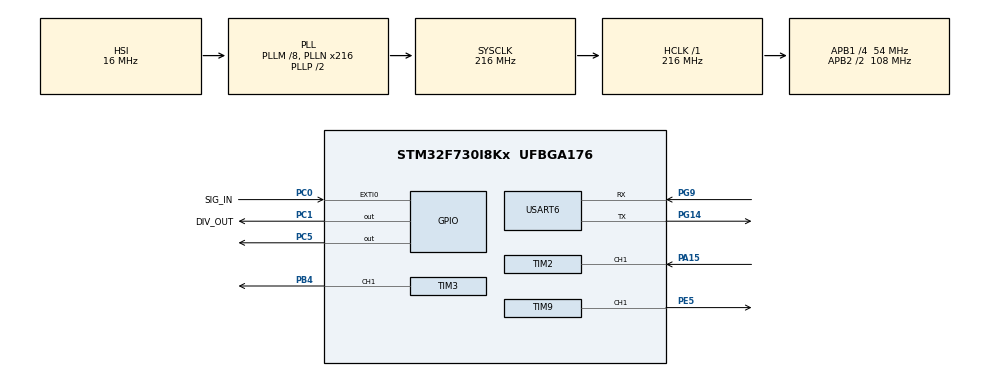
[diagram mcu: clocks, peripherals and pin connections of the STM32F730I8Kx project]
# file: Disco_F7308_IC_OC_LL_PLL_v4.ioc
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Dma.Request0=TIM2_CH1
Dma.TIM2_CH1.0.Direction=DMA_PERIPH_TO_MEMORY
Dma.TIM2_CH1.0.FIFOMode=DMA_FIFOMODE_DISABLE
Dma.TIM2_CH1.0.Instance=DMA1_Stream5
Dma.TIM2_CH1.0.MemDataAlignment=DMA_MDATAALIGN_WORD
Dma.TIM2_CH1.0.MemInc=DMA_MINC_ENABLE
Dma.TIM2_CH1.0.Mode=DMA_CIRCULAR
Dma.TIM2_CH1.0.PeriphDataAlignment=DMA_PDATAALIGN_WORD
Dma.TIM2_CH1.0.PeriphInc=DMA_PINC_DISABLE
Dma.TIM2_CH1.0.Priority=DMA_PRIORITY_LOW
Mcu.Family=STM32F7
Mcu.Name=STM32F730I8Kx
Mcu.Package=UFBGA176
NVIC.DMA1_Stream5_IRQn=true\:0\:0\:false\:false\:true\:false\:true
NVIC.PriorityGroup=NVIC_PRIORITYGROUP_4
NVIC.TIM2_IRQn=true\:0\:0\:false\:false\:true\:true\:true
NVIC.TIM3_IRQn=true\:0\:0\:false\:false\:true\:true\:true
PA1.Signal=S_TIM2_CH2
PA15.Signal=S_TIM2_CH1_ETR
PB4.Signal=S_TIM3_CH1
PC0.GPIO_Label=SIG_IN
PC0.Signal=GPXTI0
PC1.GPIO_Label=DIV_OUT
PC1.GPIO_Speed=GPIO_SPEED_FREQ_VERY_HIGH
PC1.Signal=GPIO_Output
PC5.GPIO_Speed=GPIO_SPEED_FREQ_VERY_HIGH
PC5.PinState=GPIO_PIN_RESET
PC5.Signal=GPIO_Output
PE5.Signal=S_TIM9_CH1
PG14.Mode=Asynchronous
PG14.Signal=USART6_TX
PG9.Mode=Asynchronous
PG9.Signal=USART6_RX
ProjectManager.HeapSize=0x200
ProjectManager.StackSize=0x400
ProjectManager.TargetToolchain=STM32CubeIDE
RCC.AHBFreq_Value=216000000
RCC.APB1CLKDivider=RCC_HCLK_DIV4
RCC.APB1Freq_Value=54000000
RCC.APB1TimFreq_Value=108000000
RCC.APB2CLKDivider=RCC_HCLK_DIV2
RCC.APB2Freq_Value=108000000
RCC.APB2TimFreq_Value=216000000
RCC.CortexFreq_Value=216000000
RCC.HCLKFreq_Value=216000000
RCC.HSE_VALUE=25000000
RCC.HSI_VALUE=16000000
RCC.LSE_VALUE=32768
RCC.PLLM=8
RCC.PLLN=216
RCC.PLLQ=9
RCC.SYSCLKFreq_VALUE=216000000
RCC.SYSCLKSource=RCC_SYSCLKSOURCE_PLLCLK
RCC.USBFreq_Value=48000000
RCC.VCOOutputFreq_Value=432000000
SH.S_TIM2_CH1_ETR.0=TIM2_CH1,Input_Capture1_from_TI1
SH.S_TIM2_CH2.0=TIM2_CH2
SH.S_TIM3_CH1.0=TIM3_CH1,Output Compare1 CH1
SH.S_TIM9_CH1.0=TIM9_CH1,PWM Generation1 CH1
TIM2.Channel-Input_Capture1_from_TI1=TIM_CHANNEL_1
TIM3.Channel-Output\ Compare1\ CH1=TIM_CHANNEL_1
TIM3.OCMode_1=TIM_OCMODE_TOGGLE
TIM9.Channel-PWM\ Generation1\ CH1=TIM_CHANNEL_1
TIM9.Pulse-PWM\ Generation1\ CH1=32767
USART6.VirtualMode-Asynchronous=VM_ASYNC
VP_TIM2_VS_ClockSourceINT.Mode=Internal
VP_TIM3_VS_ClockSourceINT.Mode=Internal
VP_TIM9_VS_ClockSourceINT.Mode=Internal
board=STM32F7308-DK

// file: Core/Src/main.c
/* USER CODE BEGIN Header */
/**
 ******************************************************************************
 * @file           : main.c
 * @brief          : Main program body
 ******************************************************************************
 * @attention
 *
 * Copyright (c) 2022 STMicroelectronics.
 * All rights reserved.
 *
 * This software is licensed under terms that can be found in the LICENSE file
 * in the root directory of this software component.
 * If no LICENSE file comes with this software, it is provided AS-IS.
 *
 ******************************************************************************

  PE5  = TIM9_CH1 PWM  output
  PA15 = TIM2_CH1 IC   input
  PB4  = TIM1_CH1 OC   output

 */
/* USER CODE END Header */
#include "main.h"

/* USER CODE BEGIN Includes */
#include <stdio.h>
#include <math.h>
#include <string.h> /* strlen */
#include <inttypes.h>

/* USER CODE END Includes */

TIM_HandleTypeDef htim2;
TIM_HandleTypeDef htim9;
DMA_HandleTypeDef hdma_tim2_ch1;

UART_HandleTypeDef huart6;

/* USER CODE BEGIN PV */

uint32_t currentTime=0;
//uint32_t CH1_captures[2];
uint32_t last_CH1_capture, CH1_capture;
volatile uint8_t  CH1_captureDone = 0, toggle=0;
volatile uint32_t CH1_diffCapture = 0;
volatile uint32_t period = 0;
volatile uint32_t DIV=0;
volatile uint32_t DIV_counter=0, TIM2_counter=0;
volatile uint32_t start=1;
volatile float fperiod=0, fperiodErr = 0.;
volatile uint32_t MULTIPLIER, DIVIDER;
volatile float ratio;
/* USER CODE END PV */

void SystemClock_Config(void);
static void MX_GPIO_Init(void);
static void MX_DMA_Init(void);
static void MX_TIM2_Init(void);
static void MX_TIM9_Init(void);
static void MX_USART6_UART_Init(void);
static void MX_TIM3_Init(void);

/* USER CODE BEGIN 0 */
// WARNING UART6 is connected to st-link
// Properties -> Settings -> MCU_Settings -> select use float with printf
/*
 * USART6, BaudRate = 115200, WordLength = UART_WORDLENGTH_8B, StopBits = UART_STOPBITS_1;
 * */
int _write(int file, char *ptr, int len)
{
	HAL_UART_Transmit(&huart6,(uint8_t *)ptr, len, 10);
	return len;
}

void   LL_TIM_OC_Start_IT(TIM_TypeDef *TIMx, uint32_t Channel){
	  /**************************/
	  /* TIM3 interrupts set-up */
	  /**************************/
	  /* Enable the capture/compare interrupt for channel 1*/
	  LL_TIM_EnableIT_CC1(TIMx);

	  /**********************************/
	  /* Start output signal generation */
	  /**********************************/
	  /* Enable output channel 3 */
	  LL_TIM_CC_EnableChannel(TIMx, Channel);

	  /* Enable counter */
	  LL_TIM_EnableCounter(TIMx);

	  /* Force update generation */
	  LL_TIM_GenerateEvent_UPDATE(TIMx);
}
/* USER CODE END 0 */

int main(void)
{

  /* MCU Configuration--------------------------------------------------------*/

  /* Reset of all peripherals, Initializes the Flash interface and the Systick. */
  HAL_Init();

  /* Configure the system clock */
  SystemClock_Config();

  /* Initialize all configured peripherals */
  MX_GPIO_Init();
  MX_DMA_Init();
  MX_TIM2_Init();
  MX_TIM9_Init();
  MX_USART6_UART_Init();
  MX_TIM3_Init();
  /* USER CODE BEGIN 2 */

	MX_DMA_Init();

	printf("start\n");
	// TIM9_freq =216 MHz
	// T = (ARR+1)*(PSC+1)/216e6=  avec ARR=4999 et PSC=215
	// Pulse=24999 => freq = 200 Hz
	// T = (ARR+1)*(PSC+1)/216e6=  avec ARR=499 et PSC=215
	// Pulse=249 => freq = 2 kHz

	// T = (ARR+1)*(PSC+1)/216e6=10*108/216e6 =5e-6   avec ARR=9 et PSC=107
	// freq = 200 kHz

	/* clear the update flag in TIMx_SR before you enable the timer */
	TIM9->SR &= ~0x00000001;      // clear update event flag in TIM9
	// __HAL_TIM_CLEAR_IT(&htim9 ,TIM_IT_UPDATE);

	/* Set the Autoreload value */
	TIM9->ARR = 25 ; // 39

	/* Set the Prescaler value */
	TIM9->PSC = 215;

	TIM9->CCR1 = TIM9->ARR >> 1;

	if (IS_TIM_REPETITION_COUNTER_INSTANCE(TIM9))
	{
		/* Set the Repetition TIM2_counter value */
		TIM9->RCR = 1;
	}

	/* Generate an update event to reload the Prescaler  and the repetition TIM2_counter value immediately */
	TIM9->EGR = TIM_EGR_UG;

	if ( HAL_OK != HAL_TIM_PWM_Start (&htim9, TIM_CHANNEL_1) )
		Error_Handler();

	if ( HAL_OK != HAL_TIM_IC_Start_DMA(&htim2, TIM_CHANNEL_1, (uint32_t*) &CH1_capture, 1) )
		Error_Handler();

	/* HAL version
	if ( HAL_OK != HAL_TIM_OC_Start_IT(&htim3, TIM_CHANNEL_1) )
		Error_Handler();
    */

	// assumption check TIM2->ARR =0xffffffff
	if (0xffffffff != TIM2->ARR)
		Error_Handler();

	CH1_captureDone = 0;

	//MULTIPLIER = 12503;
	//DIVIDER    =  4096;

	MULTIPLIER =  12503;
	DIVIDER    =   4096;
	ratio = (float) DIVIDER/ (float)MULTIPLIER/ 2.;

	while (0 == CH1_captureDone) { ; }
	last_CH1_capture = CH1_capture;
	CH1_captureDone=0;

	while (0 == CH1_captureDone) { ; }
	CH1_diffCapture = CH1_capture- last_CH1_capture;
	last_CH1_capture = CH1_capture;
	TIM3->CCR1 = TIM3->CNT+CH1_diffCapture;
	CH1_captureDone=0;

	fperiod = (float) CH1_diffCapture*ratio;
	period = (uint32_t) (fperiod);

	// LL_TIM_OC_Start_IT defined by user, see hereabove
	LL_TIM_OC_Start_IT(TIM3, LL_TIM_CHANNEL_CH1);
  /* USER CODE END 2 */

  /* Infinite loop */
	while (1)
	{

    /* USER CODE BEGIN 3 */
		if (CH1_captureDone != 0) {
			CH1_diffCapture = CH1_capture- last_CH1_capture;
			last_CH1_capture = CH1_capture;
			fperiod = (float) CH1_diffCapture*ratio;
			period = (uint32_t) (fperiod + fperiodErr);
			fperiodErr = fperiod - period;

			if (0 == CH1_diffCapture) Error_Handler();
			CH1_captureDone=0;

//#define SRC_VAR
#ifdef SRC_VAR
			TIM9->ARR++;
			TIM9->CCR1 = TIM9->ARR >> 1;
#endif

		}

	}
  /* USER CODE END 3 */
}

void SystemClock_Config(void)
{
  RCC_OscInitTypeDef RCC_OscInitStruct = {0};
  RCC_ClkInitTypeDef RCC_ClkInitStruct = {0};

  /** Configure the main internal regulator output voltage
  */
  __HAL_RCC_PWR_CLK_ENABLE();
  __HAL_PWR_VOLTAGESCALING_CONFIG(PWR_REGULATOR_VOLTAGE_SCALE1);
  /** Initializes the RCC Oscillators according to the specified parameters
  * in the RCC_OscInitTypeDef structure.
  */
  RCC_OscInitStruct.OscillatorType = RCC_OSCILLATORTYPE_HSI;
  RCC_OscInitStruct.HSIState = RCC_HSI_ON;
  RCC_OscInitStruct.HSICalibrationValue = RCC_HSICALIBRATION_DEFAULT;
  RCC_OscInitStruct.PLL.PLLState = RCC_PLL_ON;
  RCC_OscInitStruct.PLL.PLLSource = RCC_PLLSOURCE_HSI;
  RCC_OscInitStruct.PLL.PLLM = 8;
  RCC_OscInitStruct.PLL.PLLN = 216;
  RCC_OscInitStruct.PLL.PLLP = RCC_PLLP_DIV2;
  RCC_OscInitStruct.PLL.PLLQ = 9;
  if (HAL_RCC_OscConfig(&RCC_OscInitStruct) != HAL_OK)
  {
    Error_Handler();
  }
  /** Activate the Over-Drive mode
  */
  if (HAL_PWREx_EnableOverDrive() != HAL_OK)
  {
    Error_Handler();
  }
  /** Initializes the CPU, AHB and APB buses clocks
  */
  RCC_ClkInitStruct.ClockType = RCC_CLOCKTYPE_HCLK|RCC_CLOCKTYPE_SYSCLK
                              |RCC_CLOCKTYPE_PCLK1|RCC_CLOCKTYPE_PCLK2;
  RCC_ClkInitStruct.SYSCLKSource = RCC_SYSCLKSOURCE_PLLCLK;
  RCC_ClkInitStruct.AHBCLKDivider = RCC_SYSCLK_DIV1;
  RCC_ClkInitStruct.APB1CLKDivider = RCC_HCLK_DIV4;
  RCC_ClkInitStruct.APB2CLKDivider = RCC_HCLK_DIV2;

  if (HAL_RCC_ClockConfig(&RCC_ClkInitStruct, FLASH_LATENCY_7) != HAL_OK)
  {
    Error_Handler();
  }
}

static void MX_TIM2_Init(void)
{

  TIM_ClockConfigTypeDef sClockSourceConfig = {0};
  TIM_MasterConfigTypeDef sMasterConfig = {0};
  TIM_IC_InitTypeDef sConfigIC = {0};

  htim2.Instance = TIM2;
  htim2.Init.Prescaler = 0;
  htim2.Init.CounterMode = TIM_COUNTERMODE_UP;
  htim2.Init.Period = 4294967295;
  htim2.Init.ClockDivision = TIM_CLOCKDIVISION_DIV1;
  htim2.Init.AutoReloadPreload = TIM_AUTORELOAD_PRELOAD_DISABLE;
  if (HAL_TIM_Base_Init(&htim2) != HAL_OK)
  {
    Error_Handler();
  }
  sClockSourceConfig.ClockSource = TIM_CLOCKSOURCE_INTERNAL;
  if (HAL_TIM_ConfigClockSource(&htim2, &sClockSourceConfig) != HAL_OK)
  {
    Error_Handler();
  }
  if (HAL_TIM_IC_Init(&htim2) != HAL_OK)
  {
    Error_Handler();
  }
  sMasterConfig.MasterOutputTrigger = TIM_TRGO_RESET;
  sMasterConfig.MasterSlaveMode = TIM_MASTERSLAVEMODE_DISABLE;
  if (HAL_TIMEx_MasterConfigSynchronization(&htim2, &sMasterConfig) != HAL_OK)
  {
    Error_Handler();
  }
  sConfigIC.ICPolarity = TIM_INPUTCHANNELPOLARITY_RISING;
  sConfigIC.ICSelection = TIM_ICSELECTION_DIRECTTI;
  sConfigIC.ICPrescaler = TIM_ICPSC_DIV1;
  sConfigIC.ICFilter = 0;
  if (HAL_TIM_IC_ConfigChannel(&htim2, &sConfigIC, TIM_CHANNEL_1) != HAL_OK)
  {
    Error_Handler();
  }

}

static void MX_TIM3_Init(void)
{

  LL_TIM_InitTypeDef TIM_InitStruct = {0};
  LL_TIM_OC_InitTypeDef TIM_OC_InitStruct = {0};

  LL_GPIO_InitTypeDef GPIO_InitStruct = {0};

  /* Peripheral clock enable */
  LL_APB1_GRP1_EnableClock(LL_APB1_GRP1_PERIPH_TIM3);

  /* TIM3 interrupt Init */
  NVIC_SetPriority(TIM3_IRQn, NVIC_EncodePriority(NVIC_GetPriorityGrouping(),0, 0));
  NVIC_EnableIRQ(TIM3_IRQn);

  TIM_InitStruct.Prescaler = 0;
  TIM_InitStruct.CounterMode = LL_TIM_COUNTERMODE_UP;
  TIM_InitStruct.Autoreload = 65535;
  TIM_InitStruct.ClockDivision = LL_TIM_CLOCKDIVISION_DIV1;
  LL_TIM_Init(TIM3, &TIM_InitStruct);
  LL_TIM_DisableARRPreload(TIM3);
  LL_TIM_SetClockSource(TIM3, LL_TIM_CLOCKSOURCE_INTERNAL);
  TIM_OC_InitStruct.OCMode = LL_TIM_OCMODE_TOGGLE;
  TIM_OC_InitStruct.OCState = LL_TIM_OCSTATE_DISABLE;
  TIM_OC_InitStruct.OCNState = LL_TIM_OCSTATE_DISABLE;
  TIM_OC_InitStruct.CompareValue = 0;
  TIM_OC_InitStruct.OCPolarity = LL_TIM_OCPOLARITY_HIGH;
  LL_TIM_OC_Init(TIM3, LL_TIM_CHANNEL_CH1, &TIM_OC_InitStruct);
  LL_TIM_OC_DisableFast(TIM3, LL_TIM_CHANNEL_CH1);
  LL_TIM_SetTriggerOutput(TIM3, LL_TIM_TRGO_RESET);
  LL_TIM_DisableMasterSlaveMode(TIM3);
  LL_AHB1_GRP1_EnableClock(LL_AHB1_GRP1_PERIPH_GPIOB);
  /**TIM3 GPIO Configuration
  PB4   ------> TIM3_CH1
  */
  GPIO_InitStruct.Pin = LL_GPIO_PIN_4;
  GPIO_InitStruct.Mode = LL_GPIO_MODE_ALTERNATE;
  GPIO_InitStruct.Speed = LL_GPIO_SPEED_FREQ_LOW;
  GPIO_InitStruct.OutputType = LL_GPIO_OUTPUT_PUSHPULL;
  GPIO_InitStruct.Pull = LL_GPIO_PULL_NO;
  GPIO_InitStruct.Alternate = LL_GPIO_AF_2;
  LL_GPIO_Init(GPIOB, &GPIO_InitStruct);

}

static void MX_TIM9_Init(void)
{

  TIM_ClockConfigTypeDef sClockSourceConfig = {0};
  TIM_OC_InitTypeDef sConfigOC = {0};

  htim9.Instance = TIM9;
  htim9.Init.Prescaler = 0;
  htim9.Init.CounterMode = TIM_COUNTERMODE_UP;
  htim9.Init.Period = 65535;
  htim9.Init.ClockDivision = TIM_CLOCKDIVISION_DIV1;
  htim9.Init.AutoReloadPreload = TIM_AUTORELOAD_PRELOAD_DISABLE;
  if (HAL_TIM_Base_Init(&htim9) != HAL_OK)
  {
    Error_Handler();
  }
  sClockSourceConfig.ClockSource = TIM_CLOCKSOURCE_INTERNAL;
  if (HAL_TIM_ConfigClockSource(&htim9, &sClockSourceConfig) != HAL_OK)
  {
    Error_Handler();
  }
  if (HAL_TIM_PWM_Init(&htim9) != HAL_OK)
  {
    Error_Handler();
  }
  sConfigOC.OCMode = TIM_OCMODE_PWM1;
  sConfigOC.Pulse = 32767;
  sConfigOC.OCPolarity = TIM_OCPOLARITY_HIGH;
  sConfigOC.OCFastMode = TIM_OCFAST_DISABLE;
  if (HAL_TIM_PWM_ConfigChannel(&htim9, &sConfigOC, TIM_CHANNEL_1) != HAL_OK)
  {
    Error_Handler();
  }
  HAL_TIM_MspPostInit(&htim9);

}

static void MX_USART6_UART_Init(void)
{

  huart6.Instance = USART6;
  huart6.Init.BaudRate = 115200;
  huart6.Init.WordLength = UART_WORDLENGTH_8B;
  huart6.Init.StopBits = UART_STOPBITS_1;
  huart6.Init.Parity = UART_PARITY_NONE;
  huart6.Init.Mode = UART_MODE_TX_RX;
  huart6.Init.HwFlowCtl = UART_HWCONTROL_NONE;
  huart6.Init.OverSampling = UART_OVERSAMPLING_16;
  huart6.Init.OneBitSampling = UART_ONE_BIT_SAMPLE_DISABLE;
  huart6.AdvancedInit.AdvFeatureInit = UART_ADVFEATURE_NO_INIT;
  if (HAL_UART_Init(&huart6) != HAL_OK)
  {
    Error_Handler();
  }

}

static void MX_DMA_Init(void)
{

  /* DMA controller clock enable */
  __HAL_RCC_DMA1_CLK_ENABLE();

  /* DMA interrupt init */
  /* DMA1_Stream5_IRQn interrupt configuration */
  HAL_NVIC_SetPriority(DMA1_Stream5_IRQn, 0, 0);
  HAL_NVIC_EnableIRQ(DMA1_Stream5_IRQn);

}

static void MX_GPIO_Init(void)
{
  GPIO_InitTypeDef GPIO_InitStruct = {0};

  /* GPIO Ports Clock Enable */
  __HAL_RCC_GPIOG_CLK_ENABLE();
  __HAL_RCC_GPIOB_CLK_ENABLE();
  __HAL_RCC_GPIOA_CLK_ENABLE();
  __HAL_RCC_GPIOE_CLK_ENABLE();
  __HAL_RCC_GPIOC_CLK_ENABLE();

  /*Configure GPIO pin Output Level */
  HAL_GPIO_WritePin(GPIOC, DIV_OUT_Pin|GPIO_PIN_5, GPIO_PIN_RESET);

  /*Configure GPIO pin : SIG_IN_Pin */
  GPIO_InitStruct.Pin = SIG_IN_Pin;
  GPIO_InitStruct.Mode = GPIO_MODE_IT_RISING;
  GPIO_InitStruct.Pull = GPIO_NOPULL;
  HAL_GPIO_Init(SIG_IN_GPIO_Port, &GPIO_InitStruct);

  /*Configure GPIO pins : DIV_OUT_Pin PC5 */
  GPIO_InitStruct.Pin = DIV_OUT_Pin|GPIO_PIN_5;
  GPIO_InitStruct.Mode = GPIO_MODE_OUTPUT_PP;
  GPIO_InitStruct.Pull = GPIO_NOPULL;
  GPIO_InitStruct.Speed = GPIO_SPEED_FREQ_VERY_HIGH;
  HAL_GPIO_Init(GPIOC, &GPIO_InitStruct);

}

/* USER CODE BEGIN 4 */

void HAL_GPIO_EXTI_Callback(uint16_t GPIO_Pin)
{
	if(GPIO_Pin == SIG_IN_Pin) {
		DIV_counter++;
		if (DIV_counter >= (DIVIDER)){
			//	     HAL_GPIO_TogglePin(GPIOC, GPIO_PIN_1);  // Toggle
			// Set selected pins that were at low level, and reset ones that were high
			GPIOC->BSRR = ((GPIOC->ODR & DIV_OUT_Pin) << 16) | (~GPIOC->ODR & DIV_OUT_Pin);
			DIV_counter=0;
		}
	}

}

/* HAL version
void HAL_TIM_OC_DelayElapsedCallback(TIM_HandleTypeDef *htim) {
	if (htim->Channel == HAL_TIM_ACTIVE_CHANNEL_1){
		TIM3->CCR1 += period;
	}
}
*/

/**
  * @brief  Timer capture/compare interrupt processing
  * @note   The capture/compare interrupt is generated whatever the compare
  *         mode is (as long as the timer counter is enabled).
  * @param  None
  * @retval None
  */
void TimerCaptureCompare_Callback(void)
{
	 LL_TIM_OC_SetCompareCH1(TIM3, LL_TIM_OC_GetCompareCH1(TIM3)+period);
}

void HAL_TIM_IC_CaptureCallback(TIM_HandleTypeDef *htim) {
	if (htim->Channel == HAL_TIM_ACTIVE_CHANNEL_1) {
		// This is the time at which the input pulse had the second rising edge.
		//currentTime= htim->Instance->CCR1;
		CH1_captureDone = 1;

//#define CHECK
#ifdef CHECK
		DIV_counter++;
		if (DIV_counter >= (DIVIDER)){
			//	     HAL_GPIO_TogglePin(GPIOC, GPIO_PIN_1);  // Toggle
			// Set selected pins that were at low level, and reset ones that were high
			GPIOC->BSRR = ((GPIOC->ODR & DIV_OUT_Pin) << 16) | (~GPIOC->ODR & DIV_OUT_Pin);
			DIV_counter=0;
		}
#endif
	}
}

/* USER CODE END 4 */

void Error_Handler(void)
{
  /* USER CODE BEGIN Error_Handler_Debug */
	/* User can add his own implementation to report the HAL error return state */
	while (1)
	{
		HAL_GPIO_TogglePin(GPIOA, GPIO_PIN_7);
		HAL_Delay(500);
	}
  /* USER CODE END Error_Handler_Debug */
}
